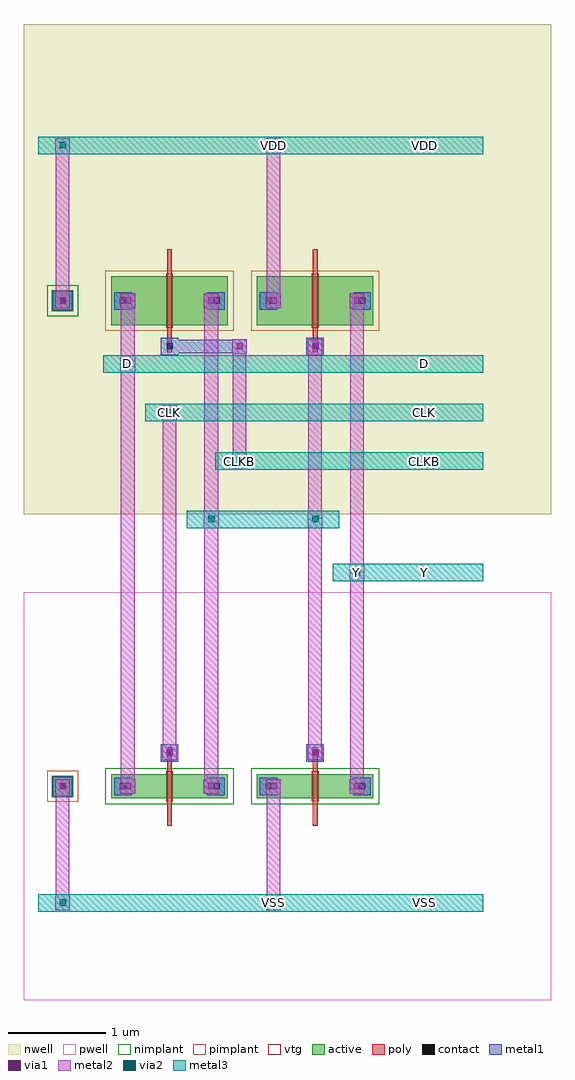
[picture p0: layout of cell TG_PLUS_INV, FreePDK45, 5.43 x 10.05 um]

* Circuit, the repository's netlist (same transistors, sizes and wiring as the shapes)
.subckt TG_PLUS_INV VDD VSS D CLK CLKB Y
M0 X CLKB D VDD PMOS_VTG W=0.5U L=0.05U
M1 X CLK D VSS NMOS_VTG W=0.25U L=0.05U
M2 Y X VDD VDD PMOS_VTG W=0.5U L=0.05U
M3 Y X VSS VSS NMOS_VTG W=0.25U L=0.05U
.ends TG_PLUS_INV
.end

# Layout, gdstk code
import gdstk
lib = gdstk.Library(unit=1e-6, precision=5e-10)
def R(c, l, rs):  # rectangles x0, y0, x1, y1
    for r in rs: c.add(gdstk.rectangle(r[:2], r[2:], *l))
active = (1, 0)
pwell = (2, 0)
nwell = (3, 0)
nimplant = (4, 0)
pimplant = (5, 0)
vtg = (6, 0)
poly = (9, 0)
contact = (10, 0)
metal1 = (11, 0)
via1 = (12, 0)
metal2 = (13, 0)
via2 = (14, 0)
metal3 = (15, 0)

tg_plus_inv = lib.new_cell('TG_PLUS_INV')
R(tg_plus_inv, active, [(0.6,1.875,1.8,2.125), (2.1,1.875,3.3,2.125), (-0.01,1.89,0.21,2.11), (0.6,6.75,1.8,7.25), (2.1,6.75,3.3,7.25), (-0.01,6.89,0.21,7.11)])
R(tg_plus_inv, pwell, [(-0.3,-0.2,5.13,4)])
R(tg_plus_inv, nwell, [(-0.3,4.8,5.13,9.85)])
R(tg_plus_inv, nimplant, [(0.54,1.815,1.86,2.185), (2.04,1.815,3.36,2.185), (-0.06,6.84,0.26,7.16)])
R(tg_plus_inv, pimplant, [(-0.06,1.84,0.26,2.16), (0.54,6.69,1.86,7.31), (2.04,6.69,3.36,7.31)])
R(tg_plus_inv, vtg, [(1.165,1.845,1.235,2.155), (2.665,1.845,2.735,2.155), (1.165,6.72,1.235,7.28), (2.665,6.72,2.735,7.28)])
R(tg_plus_inv, poly, [(1.175,1.595,1.225,2.405), (2.675,1.595,2.725,2.405), (1.175,6.47,1.225,7.53), (2.675,6.47,2.725,7.53)])
R(tg_plus_inv, contact, [(0.07,1.97,0.135,2.035), (0.69,1.97,0.755,2.035), (1.65,1.97,1.715,2.035), (2.19,1.97,2.255,2.035), (3.15,1.97,3.215,2.035), (1.17,2.315,1.235,2.38), (2.67,2.315,2.735,2.38), (1.17,6.5,1.235,6.565), (2.67,6.5,2.735,6.565), (0.07,6.97,0.135,7.035), (0.69,6.97,0.755,7.035), (1.65,6.97,1.715,7.035), (2.19,6.97,2.255,7.035), (3.15,6.97,3.215,7.035)])
R(tg_plus_inv, metal1, [(0,1.9,0.2,2.1), (0.63,1.91,0.81,2.09), (1.59,1.91,1.77,2.09), (2.13,1.91,2.31,2.09), (3.09,1.91,3.27,2.09), (0.025,1.925,0.175,2.075), (0.025,1.925,0.175,2.075), (0.025,1.925,0.175,2.075), (0.695,1.925,0.845,2.075), (1.555,1.925,1.705,2.075), (2.195,1.925,2.345,2.075), (3.055,1.925,3.205,2.075), (1.11,2.255,1.29,2.435), (2.61,2.255,2.79,2.435), (1.125,2.27,1.275,2.42), (2.625,2.27,2.775,2.42), (1.11,6.44,1.29,6.62), (2.61,6.44,2.79,6.62), (1.845,6.455,1.995,6.605), (2.625,6.455,2.775,6.605), (1.2,6.46,1.92,6.6), (0,6.9,0.2,7.1), (0.63,6.91,0.81,7.09), (1.59,6.91,1.77,7.09), (2.13,6.91,2.31,7.09), (3.09,6.91,3.27,7.09), (0.025,6.925,0.175,7.075), (0.025,6.925,0.175,7.075), (0.025,6.925,0.175,7.075), (0.695,6.925,0.845,7.075), (1.555,6.925,1.705,7.075), (2.195,6.925,2.345,7.075), (3.055,6.925,3.205,7.075)])
R(tg_plus_inv, via1, [(0.07,1.97,0.135,2.035), (0.07,1.97,0.135,2.035), (0.07,1.97,0.135,2.035), (0.74,1.97,0.805,2.035), (1.6,1.97,1.665,2.035), (2.24,1.97,2.305,2.035), (3.1,1.97,3.165,2.035), (1.17,2.315,1.235,2.38), (2.67,2.315,2.735,2.38), (1.89,6.5,1.955,6.565), (2.67,6.5,2.735,6.565), (0.07,6.97,0.135,7.035), (0.07,6.97,0.135,7.035), (0.07,6.97,0.135,7.035), (0.74,6.97,0.805,7.035), (1.6,6.97,1.665,7.035), (2.24,6.97,2.305,7.035), (3.1,6.97,3.165,7.035)])
R(tg_plus_inv, metal2, [(0.025,0.725,0.175,0.875), (0.025,0.725,0.175,0.875), (0.025,0.725,0.175,0.875), (2.195,0.725,2.345,0.875), (0.03,0.8,0.17,2), (0.03,0.8,0.17,2), (0.03,0.8,0.17,2), (2.2,0.8,2.34,2), (0.025,1.925,0.175,2.075), (0.025,1.925,0.175,2.075), (0.025,1.925,0.175,2.075), (0.695,1.925,0.845,2.075), (1.555,1.925,1.705,2.075), (2.195,1.925,2.345,2.075), (3.055,1.925,3.205,2.075), (0.7,2,0.84,6.35), (1.56,2,1.7,4.75), (3.06,2,3.2,4.2), (1.125,2.27,1.275,2.42), (2.625,2.27,2.775,2.42), (1.13,2.345,1.27,5.85), (2.63,2.345,2.77,4.75), (3.055,4.125,3.205,4.275), (3.055,4.125,3.205,4.275), (3.06,4.2,3.2,7), (1.555,4.675,1.705,4.825), (1.555,4.675,1.705,4.825), (2.625,4.675,2.775,4.825), (2.625,4.675,2.775,4.825), (1.56,4.75,1.7,7), (2.63,4.75,2.77,6.53), (1.845,5.275,1.995,5.425), (1.85,5.35,1.99,6.53), (1.125,5.775,1.275,5.925), (0.695,6.275,0.845,6.425), (0.695,6.275,0.845,6.425), (0.7,6.35,0.84,7), (1.845,6.455,1.995,6.605), (2.625,6.455,2.775,6.605), (0.025,6.925,0.175,7.075), (0.025,6.925,0.175,7.075), (0.025,6.925,0.175,7.075), (0.695,6.925,0.845,7.075), (1.555,6.925,1.705,7.075), (2.195,6.925,2.345,7.075), (3.055,6.925,3.205,7.075), (0.03,7,0.17,8.6), (0.03,7,0.17,8.6), (0.03,7,0.17,8.6), (2.2,7,2.34,8.6), (0.025,8.525,0.175,8.675), (0.025,8.525,0.175,8.675), (0.025,8.525,0.175,8.675), (2.195,8.525,2.345,8.675)])
R(tg_plus_inv, via2, [(0.07,0.77,0.135,0.835), (0.07,0.77,0.135,0.835), (0.07,0.77,0.135,0.835), (2.24,0.77,2.305,0.835), (3.1,4.17,3.165,4.235), (3.1,4.17,3.165,4.235), (1.6,4.72,1.665,4.785), (1.6,4.72,1.665,4.785), (2.67,4.72,2.735,4.785), (2.67,4.72,2.735,4.785), (1.89,5.32,1.955,5.385), (1.17,5.82,1.235,5.885), (0.74,6.32,0.805,6.385), (0.74,6.32,0.805,6.385), (0.07,8.57,0.135,8.635), (0.07,8.57,0.135,8.635), (0.07,8.57,0.135,8.635), (2.24,8.57,2.305,8.635)])
R(tg_plus_inv, metal3, [(-0.15,0.71,2.52,0.89), (2.52,0.71,4.43,0.89), (0.025,0.725,0.175,0.875), (0.025,0.725,0.175,0.875), (0.025,0.725,0.175,0.875), (2.195,0.725,2.345,0.875), (2.88,4.11,3.38,4.29), (3.38,4.11,4.43,4.29), (3.055,4.125,3.205,4.275), (3.055,4.125,3.205,4.275), (1.38,4.66,2.95,4.84), (1.555,4.675,1.705,4.825), (1.555,4.675,1.705,4.825), (2.625,4.675,2.775,4.825), (2.625,4.675,2.775,4.825), (1.67,5.26,2.17,5.44), (2.17,5.26,4.43,5.44), (1.845,5.275,1.995,5.425), (0.95,5.76,1.45,5.94), (1.45,5.76,4.43,5.94), (1.125,5.775,1.275,5.925), (0.52,6.26,1.02,6.44), (1.02,6.26,4.43,6.44), (0.695,6.275,0.845,6.425), (0.695,6.275,0.845,6.425), (-0.15,8.51,2.52,8.69), (2.52,8.51,4.43,8.69), (0.025,8.525,0.175,8.675), (0.025,8.525,0.175,8.675), (0.025,8.525,0.175,8.675), (2.195,8.525,2.345,8.675)])
tg_plus_inv.add(gdstk.Label('VDD', (3.83,8.6), layer=15, texttype=0))
tg_plus_inv.add(gdstk.Label('VDD', (3.83,8.6), layer=15, texttype=1))
tg_plus_inv.add(gdstk.Label('VDD', (3.83,8.6), layer=15, texttype=2))
tg_plus_inv.add(gdstk.Label('VDD', (2.27,8.6), layer=13, texttype=0))
tg_plus_inv.add(gdstk.Label('VDD', (2.27,8.6), layer=13, texttype=1))
tg_plus_inv.add(gdstk.Label('VDD', (2.27,8.6), layer=13, texttype=2))
tg_plus_inv.add(gdstk.Label('VSS', (3.83,0.8), layer=15, texttype=0))
tg_plus_inv.add(gdstk.Label('VSS', (3.83,0.8), layer=15, texttype=1))
tg_plus_inv.add(gdstk.Label('VSS', (3.83,0.8), layer=15, texttype=2))
tg_plus_inv.add(gdstk.Label('VSS', (2.27,0.8), layer=13, texttype=0))
tg_plus_inv.add(gdstk.Label('VSS', (2.27,0.8), layer=13, texttype=1))
tg_plus_inv.add(gdstk.Label('VSS', (2.27,0.8), layer=13, texttype=2))
tg_plus_inv.add(gdstk.Label('D', (3.83,6.35), layer=15, texttype=0))
tg_plus_inv.add(gdstk.Label('D', (3.83,6.35), layer=15, texttype=1))
tg_plus_inv.add(gdstk.Label('D', (3.83,6.35), layer=15, texttype=2))
tg_plus_inv.add(gdstk.Label('D', (0.77,6.35), layer=13, texttype=0))
tg_plus_inv.add(gdstk.Label('D', (0.77,6.35), layer=13, texttype=1))
tg_plus_inv.add(gdstk.Label('D', (0.77,6.35), layer=13, texttype=2))
tg_plus_inv.add(gdstk.Label('CLK', (3.83,5.85), layer=15, texttype=0))
tg_plus_inv.add(gdstk.Label('CLK', (3.83,5.85), layer=15, texttype=1))
tg_plus_inv.add(gdstk.Label('CLK', (3.83,5.85), layer=15, texttype=2))
tg_plus_inv.add(gdstk.Label('CLK', (1.2,5.85), layer=13, texttype=0))
tg_plus_inv.add(gdstk.Label('CLK', (1.2,5.85), layer=13, texttype=1))
tg_plus_inv.add(gdstk.Label('CLK', (1.2,5.85), layer=13, texttype=2))
tg_plus_inv.add(gdstk.Label('CLKB', (3.83,5.35), layer=15, texttype=0))
tg_plus_inv.add(gdstk.Label('CLKB', (3.83,5.35), layer=15, texttype=1))
tg_plus_inv.add(gdstk.Label('CLKB', (3.83,5.35), layer=15, texttype=2))
tg_plus_inv.add(gdstk.Label('CLKB', (1.92,5.35), layer=13, texttype=0))
tg_plus_inv.add(gdstk.Label('CLKB', (1.92,5.35), layer=13, texttype=1))
tg_plus_inv.add(gdstk.Label('CLKB', (1.92,5.35), layer=13, texttype=2))
tg_plus_inv.add(gdstk.Label('Y', (3.83,4.2), layer=15, texttype=0))
tg_plus_inv.add(gdstk.Label('Y', (3.83,4.2), layer=15, texttype=1))
tg_plus_inv.add(gdstk.Label('Y', (3.83,4.2), layer=15, texttype=2))
tg_plus_inv.add(gdstk.Label('Y', (3.13,4.2), layer=13, texttype=0))
tg_plus_inv.add(gdstk.Label('Y', (3.13,4.2), layer=13, texttype=1))
tg_plus_inv.add(gdstk.Label('Y', (3.13,4.2), layer=13, texttype=2))

lib.write_gds('TG_PLUS_INV.gds')
